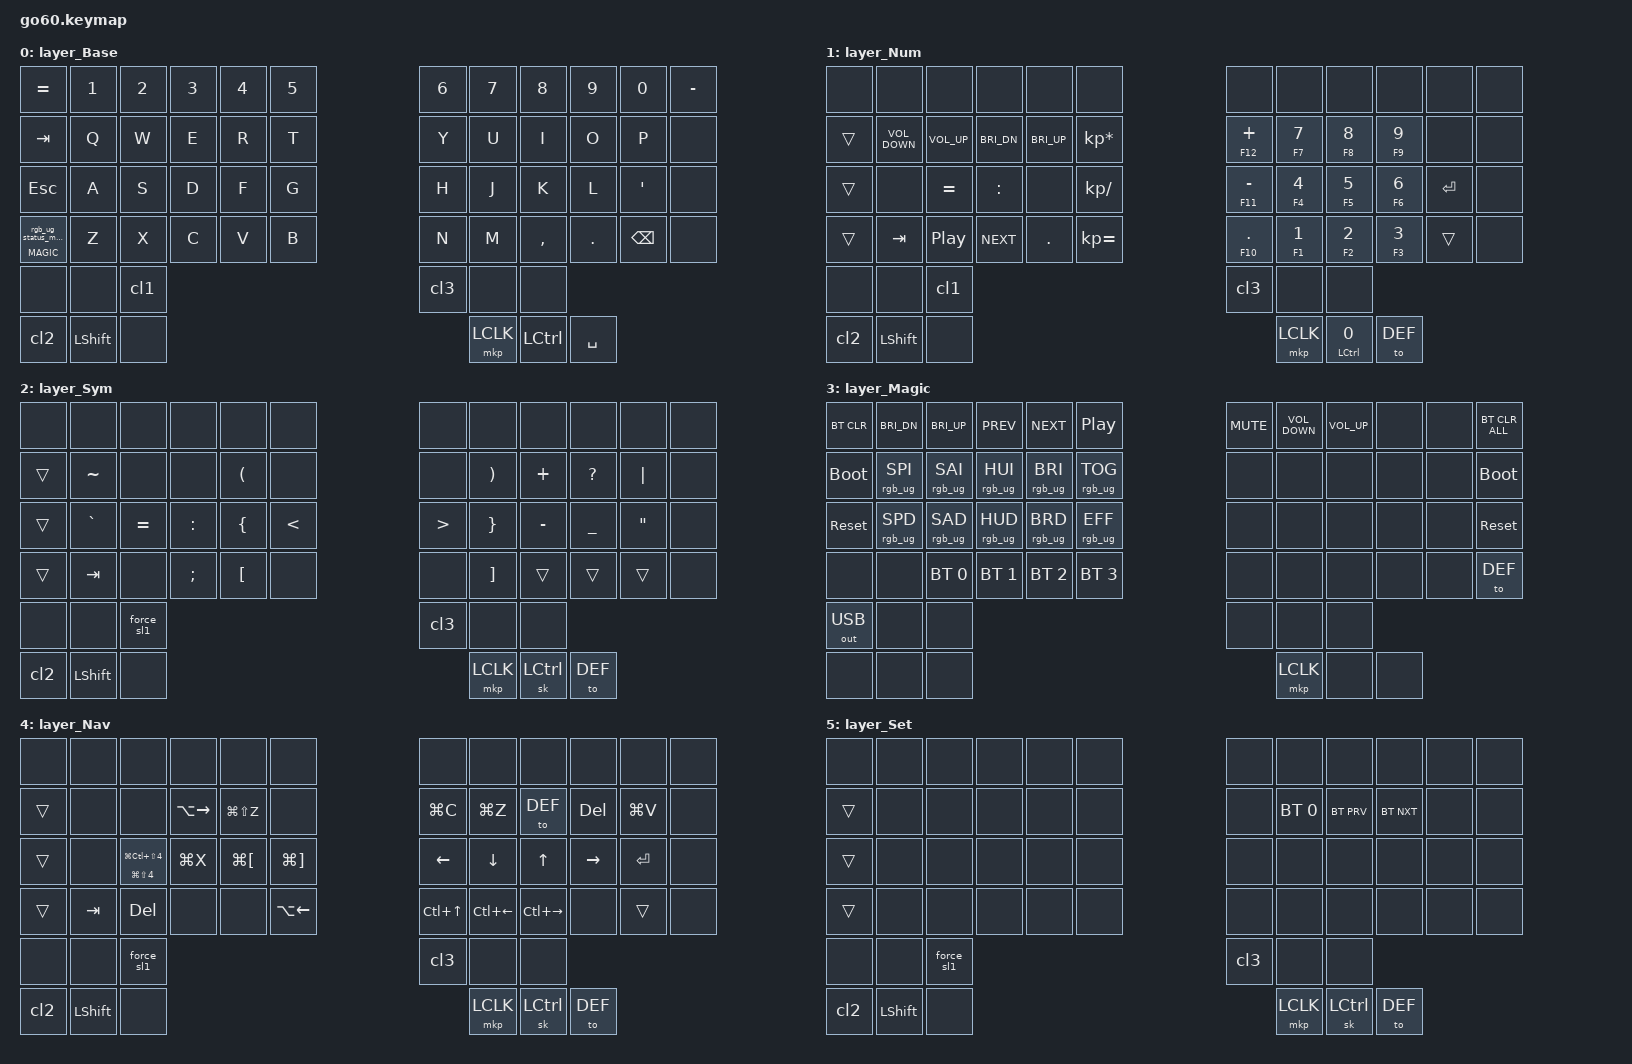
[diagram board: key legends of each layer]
/*
 * Go60 keymap based on the existing Chocofi layout.
 *
 * The Go60 has six columns x four rows per side, three extra keys per side,
 * and three thumb keys per side.  The first three rows preserve the Chocofi
 * letter arrangement; the additional keys provide number-row, punctuation,
 * and navigation fallbacks.
 */

#include <behaviors.dtsi>
#include <dt-bindings/zmk/keys.h>
#include <dt-bindings/zmk/bt.h>
#include <dt-bindings/zmk/outputs.h>
#include <dt-bindings/zmk/rgb.h>
#include <dt-bindings/zmk/input_transform.h>
#include <dt-bindings/zmk/pointing.h>
#include <input/processors.dtsi>
#include <zephyr/dt-bindings/input/input-event-codes.h>

#define DEF 0
#define NUM 1
#define SYM 2
#define MAGIC 3
#define NAV 4
#define SET 5

&mt {
  flavor = "tap-preferred";
  tapping-term-ms = <300>;
  quick-tap-ms = <125>;
};

/ {
  input_processors {
    zip_click_to_right_click_mapper: zip_click_to_right_click_mapper {
      compatible = "zmk,input-processor-code-mapper";
      #input-processor-cells = <0>;
      type = <INPUT_EV_KEY>;
      map = <INPUT_BTN_0 INPUT_BTN_1>;
    };
  };

  macros {
    rgb_ug_status_macro: rgb_ug_status_macro {
      compatible = "zmk,behavior-macro";
      #binding-cells = <0>;
      bindings = <&rgb_ug RGB_STATUS>;
    };

    force_sl1: force_sticky_sl1 {
      label = "JK_force_sticky_sl1";
      compatible = "zmk,behavior-macro";
      #binding-cells = <0>;
      wait-ms = <0>;
      bindings = <&to 0>, <&cl1>;
    };

    force_sl2: force_sticky_sl2 {
      label = "JK_force_sticky_sl2";
      compatible = "zmk,behavior-macro";
      #binding-cells = <0>;
      wait-ms = <0>;
      bindings = <&to 0>, <&cl2>;
    };
  };

  behaviors {
    magic: magic {
      compatible = "zmk,behavior-hold-tap";
      #binding-cells = <2>;
      flavor = "tap-preferred";
      tapping-term-ms = <200>;
      bindings = <&mo>, <&rgb_ug_status_macro>;
    };

    cl1: cl1 {
      compatible = "zmk,behavior-tap-dance";
      label = "TD_LAYER_1";
      #binding-cells = <0>;
      tapping-term-ms = <200>;
      bindings = <&sl 1>, <&to 1>;
    };

    cl2: cl2 {
      compatible = "zmk,behavior-tap-dance";
      label = "TD_LAYER_2";
      #binding-cells = <0>;
      tapping-term-ms = <200>;
      bindings = <&sl 2>, <&to 2>;
    };

    cl3: cl3 {
      compatible = "zmk,behavior-tap-dance";
      label = "TD_LAYER_3";
      #binding-cells = <0>;
      tapping-term-ms = <200>;
      bindings = <&sl 4>, <&to 4>;
    };

    ht: hold_tap {
      compatible = "zmk,behavior-hold-tap";
      label = "HOLD_TAP";
      #binding-cells = <2>;
      tapping-term-ms = <200>;
      quick-tap-ms = <150>;
      flavor = "tap-preferred";
      bindings = <&kp>, <&kp>;
    };
  };

  keymap {
    compatible = "zmk,keymap";

    layer_Base {
      // Chocofi thumb geometry uses T1, T2, and the adjacent R5C2 on each half.
      // LH: R5C2=NUM, T1=SYM, T2=Shift. RH: T2=Ctrl, T1=Space, R5C2=NAV.
      // RH T3 (left of Ctrl) is left-click on every layer; LH T3 stays inactive.
      // Keep the number row and left Tab/Esc/MoErgo.
      // C6..C1 | C1..C6
      // Last two binding rows: LH R5C4,C3,C2 | RH R5C2,C3,C4;
      //                       LH T1,T2,T3   | RH T3,T2,T1.
      bindings = <
        &kp EQUAL  &kp N1 &kp N2 &kp N3 &kp N4 &kp N5                 &kp N6 &kp N7 &kp N8 &kp N9 &kp N0 &kp MINUS
        &kp TAB    &kp Q  &kp W  &kp E  &kp R  &kp T                  &kp Y  &kp U  &kp I  &kp O  &kp P  &none
        &kp ESC    &kp A  &kp S  &kp D  &kp F  &kp G                  &kp H  &kp J  &kp K  &kp L  &kp SQT &none
        &magic MAGIC 0 &kp Z &kp X &kp C &kp V &kp B                  &kp N &kp M &kp COMMA &kp DOT &kp BSPC &none
        &none      &none &cl1                                         &cl3 &none &none
        &cl2       &kp LSHFT &none                                    &mkp LCLK &kp LCTRL &kp SPACE
      >;
    };

    layer_Num {
      // Chocofi number/media layer; the preserved left outer keys fall through
      // to Base so Tab, Esc, and MoErgo remain available on every layer.
      bindings = <
        &none       &none &none &none &none &none                     &none &none &none &none &none &none
        &trans      &kp C_VOLUME_DOWN &kp C_VOLUME_UP &kp C_BRI_DN &kp C_BRI_UP &kp KP_MULTIPLY
                                                                        &ht F12 PLUS &ht F7 NUMBER_7 &ht F8 NUMBER_8 &ht F9 NUMBER_9 &none &none
        &trans      &none &kp EQUAL &kp COLON &none &kp KP_DIVIDE       &ht F11 MINUS &ht F4 NUMBER_4 &ht F5 NUMBER_5 &ht F6 NUMBER_6 &kp ENTER &none
        &trans      &kp TAB &kp C_PLAY_PAUSE &kp C_NEXT &kp PERIOD &kp KP_EQUAL
                                                                        &ht F10 PERIOD &ht F1 NUMBER_1 &ht F2 NUMBER_2 &ht F3 NUMBER_3 &trans &none
        &none       &none &cl1                                       &cl3 &none &none
        &cl2        &kp LSHFT &none                                  &mkp LCLK &mt LCTRL NUMBER_0 &to DEF
      >;
    };

    layer_Sym {
      // Chocofi symbol layer on the same letter and thumb positions.
      bindings = <
        &none       &none &none &none &none &none                     &none &none &none &none &none &none
        &trans      &kp TILDE &none &none &kp LEFT_PARENTHESIS &none    &none &kp RIGHT_PARENTHESIS &kp PLUS &kp QMARK &kp PIPE &none
        &trans      &kp GRAVE &kp EQUAL &kp COLON &kp LEFT_BRACE &kp LT  &kp GT &kp RIGHT_BRACE &kp MINUS &kp UNDER &kp DOUBLE_QUOTES &none
        &trans      &kp TAB &none &kp SEMI &kp LEFT_BRACKET &none       &none &kp RIGHT_BRACKET &trans &trans &trans &none
        &none       &none &force_sl1                                 &cl3 &none &none
        &cl2        &kp LSHFT &none                                  &mkp LCLK &sk LCTRL &to DEF
      >;
    };

    layer_Magic {
      // Go60 hardware controls. MoErgo on Base taps status and holds this layer.
      bindings = <
        &bt BT_CLR &kp C_BRI_DN &kp C_BRI_UP &kp C_PREV &kp C_NEXT &kp C_PLAY_PAUSE    &kp C_MUTE &kp C_VOLUME_DOWN &kp C_VOLUME_UP &none &none &bt BT_CLR_ALL
        &bootloader &rgb_ug RGB_SPI &rgb_ug RGB_SAI &rgb_ug RGB_HUI &rgb_ug RGB_BRI &rgb_ug RGB_TOG    &none &none &none &none &none &bootloader
        &sys_reset &rgb_ug RGB_SPD &rgb_ug RGB_SAD &rgb_ug RGB_HUD &rgb_ug RGB_BRD &rgb_ug RGB_EFF    &none &none &none &none &none &sys_reset
        &none &none &bt BT_SEL 0 &bt BT_SEL 1 &bt BT_SEL 2 &bt BT_SEL 3    &none &none &none &none &none &to DEF
        &out OUT_USB &none &none                                      &none &none &none
        &none &none &none                                      &mkp LCLK &none &none
      >;
    };

    layer_Nav {
      // Navigation and editing layer from the Chocofi configuration.
      // F/G keep Cmd+[/] navigation; M/comma switch desktops with Ctrl+Left/Right.
      bindings = <
        &none &none &none &none &none &none                         &none &none &none &none &none &none
        &trans &none &none &kp LA(RIGHT_ARROW) &kp LG(LS(Z)) &none    &kp LG(C) &kp LG(Z) &to DEF &kp DEL &kp LG(V) &none
        &trans &none &ht LG(LS(N4)) LG(LC(LS(N4))) &kp LG(X) &kp LG(LEFT_BRACKET) &kp LG(RIGHT_BRACKET)    &kp LEFT_ARROW &kp DOWN_ARROW &kp UP_ARROW &kp RIGHT_ARROW &kp ENTER &none
        &trans &kp TAB &kp DEL &none &none &kp LA(LEFT_ARROW)    &kp LC(UP_ARROW) &kp LC(LEFT_ARROW) &kp LC(RIGHT_ARROW) &none &trans &none
        &none &none &force_sl1                                 &cl3 &none &none
        &cl2 &kp LSHFT &none                                   &mkp LCLK &sk LCTRL &to DEF
      >;
    };

    layer_Set {
      // Bluetooth controls.  The three-key chords below mirror the Chocofi
      // setup layer while leaving the rest of this layer inert.
      bindings = <
        &none &none &none &none &none &none    &none &none &none &none &none &none
        &trans &none &none &none &none &none    &none &bt BT_SEL 0 &bt BT_PRV &bt BT_NXT &none &none
        &trans &none &none &none &none &none    &none &none &none &none &none &none
        &trans &none &none &none &none &none    &none &none &none &none &none &none
        &none &none &force_sl1                                 &cl3 &none &none
        &cl2 &kp LSHFT &none                                   &mkp LCLK &sk LCTRL &to DEF
      >;
    };
  };

  combos {
    compatible = "zmk,combos";

    combo_esc {
      key-positions = <25 37>;
      bindings = <&kp ESC>;
      timeout-ms = <30>;
    };

    combo_ret {
      key-positions = <45 46>;
      bindings = <&kp RET>;
      timeout-ms = <30>;
    };

    combo_ret_2 {
      key-positions = <44 45>;
      bindings = <&kp RET>;
      timeout-ms = <35>;
    };

    combo_tab {
      key-positions = <37 38>;
      bindings = <&kp TAB>;
      timeout-ms = <35>;
    };

    combo_tab_2 {
      key-positions = <38 39>;
      bindings = <&kp TAB>;
      timeout-ms = <30>;
    };

    left_command {
      bindings = <&kp LEFT_COMMAND>;
      key-positions = <27 28>;
      timeout-ms = <30>;
    };

    left_alt {
      bindings = <&kp LEFT_ALT>;
      key-positions = <28 26>;
      timeout-ms = <30>;
    };

    left_alt_cmd {
      bindings = <&kp LG(LEFT_ALT)>;
      key-positions = <28 27 26>;
      timeout-ms = <30>;
    };

    right_command {
      bindings = <&kp RIGHT_COMMAND>;
      key-positions = <31 32>;
      timeout-ms = <30>;
    };

    right_alt {
      bindings = <&kp RIGHT_ALT>;
      key-positions = <31 33>;
      timeout-ms = <30>;
    };

    right_alt_cmd {
      bindings = <&kp RG(RIGHT_ALT)>;
      key-positions = <31 32 33>;
      timeout-ms = <30>;
    };

    start_of_line {
      bindings = <&kp LG(RIGHT_ARROW)>;
      key-positions = <16 28>;
      layers = <NAV>;
      timeout-ms = <30>;
    };

    end_of_line {
      bindings = <&kp LG(LEFT_ARROW)>;
      key-positions = <18 30>;
      layers = <NAV>;
      timeout-ms = <30>;
    };

    to_set {
      bindings = <&to SET>;
      key-positions = <14 15 16>;
      layers = <NAV>;
      timeout-ms = <30>;
    };

    bt_clr {
      bindings = <&bt BT_CLR>;
      key-positions = <19 20 21>;
      layers = <SET>;
      timeout-ms = <30>;
    };

    cb_excl {
      bindings = <&kp EXCL>;
      key-positions = <13 25>;
      timeout-ms = <30>;
    };

    cb_at {
      bindings = <&kp AT>;
      key-positions = <14 26>;
      timeout-ms = <30>;
    };

    cb_hash {
      bindings = <&kp HASH>;
      key-positions = <15 27>;
      timeout-ms = <30>;
    };

    cb_dllr {
      bindings = <&kp DLLR>;
      key-positions = <16 28>;
      timeout-ms = <30>;
      layers = <DEF NUM SYM>;
    };

    cb_prcnt {
      bindings = <&kp PRCNT>;
      key-positions = <17 29>;
      timeout-ms = <30>;
    };

    cb_caret {
      bindings = <&kp CARET>;
      key-positions = <18 30>;
      timeout-ms = <30>;
      layers = <DEF NUM SYM>;
    };

    cb_amps {
      bindings = <&kp AMPS>;
      key-positions = <19 31>;
      timeout-ms = <30>;
    };

    cb_mult {
      bindings = <&kp KP_MULTIPLY>;
      key-positions = <20 32>;
      timeout-ms = <30>;
    };

    cb_slash {
      bindings = <&kp SLASH>;
      key-positions = <21 33>;
      timeout-ms = <30>;
    };

    cb_bslash {
      bindings = <&kp BACKSLASH>;
      key-positions = <22 34>;
      timeout-ms = <30>;
    };

    cb_tilde {
      bindings = <&kp TILDE>;
      key-positions = <13 14>;
      timeout-ms = <30>;
    };

    // Typeless dictation: apostrophe + backspace sends the app's additional F16 shortcut.
    typeless {
      bindings = <&kp F16>;
      key-positions = <34 46>;
      layers = <DEF>;
      timeout-ms = <30>;
    };
  };
};

// Go60 touchpads: the right pad is a mouse, while the left pad scrolls and
// uses its click as right-click.  The Symbol layer increases right-pad speed.
&cirque_rh_listener {
  input-processors = <&zip_xy_scaler 3 1>;

  layer_2 {
    layers = <SYM>;
    input-processors = <&zip_xy_scaler 9 1>;
  };
};

&cirque_lh_listener {
  // Map motion to wheel events before scaling them. An XY scaler here would
  // ignore the mapped events, leaving scrolling at full speed.
  input-processors = <&zip_xy_to_scroll_mapper>,
                     <&zip_scroll_transform INPUT_TRANSFORM_Y_INVERT>,
                     <&zip_scroll_scaler 1 16>,
                     <&zip_click_to_right_click_mapper>;

  layer_4 {
    layers = <SET>;
    input-processors = <&zip_xy_scaler 3 1>;
  };

  nav_scroll {
    layers = <NAV>;
    // Layer overrides replace the whole chain: retain natural scrolling and
    // right-click while scrolling twice as fast as the normal setting.
    input-processors = <&zip_xy_to_scroll_mapper>,
                       <&zip_scroll_transform INPUT_TRANSFORM_Y_INVERT>,
                       <&zip_scroll_scaler 1 8>,
                       <&zip_click_to_right_click_mapper>;
  };
};
